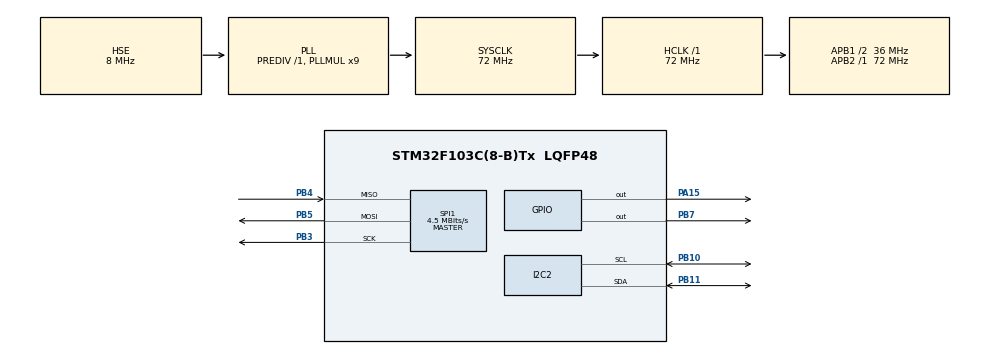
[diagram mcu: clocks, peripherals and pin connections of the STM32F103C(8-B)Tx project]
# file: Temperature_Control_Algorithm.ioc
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Mcu.Family=STM32F1
Mcu.Name=STM32F103C(8-B)Tx
Mcu.Package=LQFP48
NVIC.PriorityGroup=NVIC_PRIORITYGROUP_4
PA13.Mode=Serial_Wire
PA13.Signal=SYS_JTMS-SWDIO
PA14.Mode=Serial_Wire
PA14.Signal=SYS_JTCK-SWCLK
PA15.GPIO_Speed=GPIO_SPEED_FREQ_LOW
PA15.PinState=GPIO_PIN_SET
PA15.Signal=GPIO_Output
PB10.Mode=I2C
PB10.Signal=I2C2_SCL
PB11.Mode=I2C
PB11.Signal=I2C2_SDA
PB3.Mode=Full_Duplex_Master
PB3.Signal=SPI1_SCK
PB4.Mode=Full_Duplex_Master
PB4.Signal=SPI1_MISO
PB5.Mode=Full_Duplex_Master
PB5.Signal=SPI1_MOSI
PB7.Signal=GPIO_Output
PD0-OSC_IN.Mode=HSE-External-Oscillator
PD0-OSC_IN.Signal=RCC_OSC_IN
PD1-OSC_OUT.Mode=HSE-External-Oscillator
PD1-OSC_OUT.Signal=RCC_OSC_OUT
ProjectManager.HeapSize=0x200
ProjectManager.StackSize=0x400
ProjectManager.TargetToolchain=STM32CubeIDE
RCC.AHBFreq_Value=72000000
RCC.APB1CLKDivider=RCC_HCLK_DIV2
RCC.APB1Freq_Value=36000000
RCC.APB1TimFreq_Value=72000000
RCC.APB2Freq_Value=72000000
RCC.APB2TimFreq_Value=72000000
RCC.HCLKFreq_Value=72000000
RCC.PLLMUL=RCC_PLL_MUL9
RCC.PLLSourceVirtual=RCC_PLLSOURCE_HSE
RCC.SYSCLKFreq_VALUE=72000000
RCC.SYSCLKSource=RCC_SYSCLKSOURCE_PLLCLK
RCC.USBFreq_Value=72000000
SPI1.BaudRatePrescaler=SPI_BAUDRATEPRESCALER_16
SPI1.CLKPhase=SPI_PHASE_2EDGE
SPI1.CalculateBaudRate=4.5 MBits/s
SPI1.Direction=SPI_DIRECTION_2LINES
SPI1.Mode=SPI_MODE_MASTER
SPI1.VirtualType=VM_MASTER
board=custom

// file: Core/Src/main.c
/* USER CODE BEGIN Header */
/**
  ******************************************************************************
  * @file           : main.c
  * @brief          : Main program body
  ******************************************************************************
  * @attention
  *
  * Copyright (c) 2026 STMicroelectronics.
  * All rights reserved.
  *
  * This software is licensed under terms that can be found in the LICENSE file
  * in the root directory of this software component.
  * If no LICENSE file comes with this software, it is provided AS-IS.
  *
  ******************************************************************************
  */
/* USER CODE END Header */
#include "main.h"

/* USER CODE BEGIN Includes */
#include "LiquidCrystal_I2C.h"
#include "MAX31856.h"
#include "PID_Controller.h"
#include <stdio.h>
#include <stdlib.h>
#include <math.h>
/* USER CODE END Includes */

I2C_HandleTypeDef hi2c2;

SPI_HandleTypeDef hspi1;

/* USER CODE BEGIN PV */
// Khai báo các object điều khiển
MAX31856_HandleTypeDef max31856;
PID_TypeDef pid_heater;

// Biến cho PID
float Input, Output, Setpoint;
float Kp = 20.0f, Ki = 0.02f, Kd = 300.0f;

// Biến cho Time-Proportional Control (Slow PWM)
#define WINDOW_SIZE 1000 // Chu kỳ băm xung là 1000ms (1 giây)
uint32_t windowStartTime = 0;
float active_output = 0; // Biến "chốt" (lock) Output cho 1 chu kỳ PWM

// Các biến định thời phi nghẽn
uint32_t lastSensorUpdate = 0;
uint32_t lastLcdUpdate = 0;
uint8_t sensor_fault = 0; // Biến lưu trạng thái lỗi cảm biến
/* USER CODE END PV */

void SystemClock_Config(void);
static void MX_GPIO_Init(void);
static void MX_I2C2_Init(void);
static void MX_SPI1_Init(void);

int main(void)
{

  /* MCU Configuration--------------------------------------------------------*/

  /* Reset of all peripherals, Initializes the Flash interface and the Systick. */
  HAL_Init();

  /* Configure the system clock */
  SystemClock_Config();

  /* Initialize all configured peripherals */
  MX_GPIO_Init();
  MX_I2C2_Init();
  MX_SPI1_Init();
  /* USER CODE BEGIN 2 */
  // 1. Init LCD 16x2
    LCDI2C_init(&hi2c2, 0x27, 16, 2);
    LCDI2C_backlight();
    LCDI2C_clear();

  // 2. Khởi tạo cảm biến MAX31856
    MAX31856_Init(&max31856, &hspi1, GPIOA, GPIO_PIN_15);
    MAX31856_SetThermocoupleType(&max31856, MAX31856_TCTYPE_S);
    MAX31856_SetNoiseFilter(&max31856, MAX31856_NOISE_FILTER_50HZ);
    MAX31856_SetConversionMode(&max31856, MAX31856_CONTINUOUS);

  // 3. Khởi tạo bộ PID
    Setpoint = 150.0f;
    PID_Init(&pid_heater, &Input, &Output, &Setpoint, Kp, Ki, Kd, PID_P_ON_E, PID_DIRECT);
    PID_SetMode(&pid_heater, PID_AUTOMATIC);
    PID_SetOutputLimits(&pid_heater, 0, WINDOW_SIZE);

    // Đồng bộ Chu kỳ tính toán PID đúng bằng chu kỳ băm xung SSR
    PID_SetSampleTime(&pid_heater, WINDOW_SIZE);
    windowStartTime = HAL_GetTick();

    // Biến dùng cho bộ lọc EMA (Exponential Moving Average)
     static float filtered_temp = -1.0f;
    // Trạng thái Anti-Windup để tránh gọi hàm SetTunings liên tục
     static bool ki_is_active = true;
  /* USER CODE END 2 */

  /* Infinite loop */
  /* USER CODE BEGIN WHILE */
  while (1)
  {
	  uint32_t currentTick = HAL_GetTick();
      /* ==================================================================== */
      /* CHU KỲ 1: ĐỌC VÀ LỌC NHIỄU CẢM BIẾN (Chạy định kỳ 250ms)             */
      /* ==================================================================== */
      if (currentTick - lastSensorUpdate >= 250)
      {
          lastSensorUpdate = currentTick;

          // Kiểm tra lỗi cảm biến
          sensor_fault = MAX31856_ReadFault(&max31856);

          if (sensor_fault == 0)
          {
              float temp_read = MAX31856_ReadThermocoupleTemperature(&max31856);
              if (temp_read > -0.1f && temp_read < 500.0f) { // Lọc giá trị rác cực đoan
                  if (filtered_temp < 0.0f) filtered_temp = temp_read;
                  else filtered_temp = 0.8f * filtered_temp + 0.2f * temp_read; // Bộ lọc EMA
                  Input = filtered_temp;
              }
          } else {
              // Bảo vệ phần cứng: Tắt gia nhiệt ngay lập tức nếu cảm biến lỗi
              PID_SetMode(&pid_heater, PID_MANUAL);
              active_output = 0;
              Output = 0;
          }
      }

      /* ==================================================================== */
      /* CHU KỲ 2: TÍNH TOÁN PID VÀ CẬP NHẬT CHU KỲ PWM                       */
      /* ==================================================================== */
      if (sensor_fault == 0) {
          if (PID_GetMode(&pid_heater) != PID_AUTOMATIC) {
              PID_SetMode(&pid_heater, PID_AUTOMATIC);
          }

          // Anti-Windup: Chỉ bật khâu I (Tích phân) khi cách đích <= 5 độ C
          float error = Setpoint - Input;
          if (fabs(error) > 5.0f && ki_is_active) {
              PID_SetTunings(&pid_heater, Kp, 0.0f, Kd, PID_P_ON_E);
              ki_is_active = false;
          } else if (fabs(error) <= 5.0f && !ki_is_active) {
              PID_SetTunings(&pid_heater, Kp, Ki, Kd, PID_P_ON_E);
              ki_is_active = true;
          }

          // Cho phép thư viện PID tự quyết định thời điểm cập nhật dựa trên SampleTime (1000ms)
          if (PID_Compute(&pid_heater)) {
              // Hàm PID_Compute trả về true -> Có giá trị Output mới
              // ĐỒNG BỘ HOÁ: Reset lại bộ đếm PWM window ngay lúc này
              windowStartTime = currentTick;
              active_output = Output;
          }
      }

      /* ==================================================================== */
      /* CHU KỲ 3: ĐIỀU KHIỂN SSR PWM (Chạy liên tục không block)             */
      /* ==================================================================== */
      if (sensor_fault != 0) {
          HAL_GPIO_WritePin(GPIOB, GPIO_PIN_7, GPIO_PIN_RESET);
      } else {
          uint32_t ms_in_window = currentTick - windowStartTime;

          // Xử lý Deadband an toàn cho SSR (Cắt bỏ dải < 20ms và giữ ON toàn thời gian nếu > 980ms)
          if (active_output <= 20) {
              HAL_GPIO_WritePin(GPIOB, GPIO_PIN_7, GPIO_PIN_RESET);
          } else if (active_output >= (WINDOW_SIZE - 20)) {
              HAL_GPIO_WritePin(GPIOB, GPIO_PIN_7, GPIO_PIN_SET);
          } else {
              // Băm xung bình thường
              if (ms_in_window < active_output) {
                  HAL_GPIO_WritePin(GPIOB, GPIO_PIN_7, GPIO_PIN_SET);
              } else {
                  HAL_GPIO_WritePin(GPIOB, GPIO_PIN_7, GPIO_PIN_RESET);
              }
          }
      }

      /* ==================================================================== */
      /* CHU KỲ 4: CẬP NHẬT LCD (Chạy định kỳ mỗi 500ms)                      */
      /* ==================================================================== */
      if (currentTick - lastLcdUpdate >= 500)
      {
          lastLcdUpdate = currentTick;
          char lcd_buf[18];

          if (sensor_fault != 0) {
              LCDI2C_setCursor(0, 0);
              LCDI2C_write_String("SENSOR ERROR!   ");
              LCDI2C_setCursor(0, 1);
              LCDI2C_write_String("SSR: OFF        ");
          } else {
              LCDI2C_setCursor(0, 0);
              snprintf(lcd_buf, sizeof(lcd_buf), "SP:%3.0f PV:%3.2f", Setpoint, Input);
              LCDI2C_write_String(lcd_buf);

              LCDI2C_setCursor(0, 1);
              // Ký hiệu [I] hiển thị để theo dõi xem bộ Anti-Windup đang bật hay tắt Tích phân
              snprintf(lcd_buf, sizeof(lcd_buf), "SSR: %4dms %c   ", (int)active_output, ki_is_active ? 'I' : ' ');
              LCDI2C_write_String(lcd_buf);
          }
      }
    /* USER CODE END WHILE */

  }
}

void SystemClock_Config(void)
{
  RCC_OscInitTypeDef RCC_OscInitStruct = {0};
  RCC_ClkInitTypeDef RCC_ClkInitStruct = {0};

  /** Initializes the RCC Oscillators according to the specified parameters
  * in the RCC_OscInitTypeDef structure.
  */
  RCC_OscInitStruct.OscillatorType = RCC_OSCILLATORTYPE_HSE;
  RCC_OscInitStruct.HSEState = RCC_HSE_ON;
  RCC_OscInitStruct.HSEPredivValue = RCC_HSE_PREDIV_DIV1;
  RCC_OscInitStruct.HSIState = RCC_HSI_ON;
  RCC_OscInitStruct.PLL.PLLState = RCC_PLL_ON;
  RCC_OscInitStruct.PLL.PLLSource = RCC_PLLSOURCE_HSE;
  RCC_OscInitStruct.PLL.PLLMUL = RCC_PLL_MUL9;
  if (HAL_RCC_OscConfig(&RCC_OscInitStruct) != HAL_OK)
  {
    Error_Handler();
  }

  /** Initializes the CPU, AHB and APB buses clocks
  */
  RCC_ClkInitStruct.ClockType = RCC_CLOCKTYPE_HCLK|RCC_CLOCKTYPE_SYSCLK
                              |RCC_CLOCKTYPE_PCLK1|RCC_CLOCKTYPE_PCLK2;
  RCC_ClkInitStruct.SYSCLKSource = RCC_SYSCLKSOURCE_PLLCLK;
  RCC_ClkInitStruct.AHBCLKDivider = RCC_SYSCLK_DIV1;
  RCC_ClkInitStruct.APB1CLKDivider = RCC_HCLK_DIV2;
  RCC_ClkInitStruct.APB2CLKDivider = RCC_HCLK_DIV1;

  if (HAL_RCC_ClockConfig(&RCC_ClkInitStruct, FLASH_LATENCY_2) != HAL_OK)
  {
    Error_Handler();
  }
}

static void MX_I2C2_Init(void)
{

  hi2c2.Instance = I2C2;
  hi2c2.Init.ClockSpeed = 100000;
  hi2c2.Init.DutyCycle = I2C_DUTYCYCLE_2;
  hi2c2.Init.OwnAddress1 = 0;
  hi2c2.Init.AddressingMode = I2C_ADDRESSINGMODE_7BIT;
  hi2c2.Init.DualAddressMode = I2C_DUALADDRESS_DISABLE;
  hi2c2.Init.OwnAddress2 = 0;
  hi2c2.Init.GeneralCallMode = I2C_GENERALCALL_DISABLE;
  hi2c2.Init.NoStretchMode = I2C_NOSTRETCH_DISABLE;
  if (HAL_I2C_Init(&hi2c2) != HAL_OK)
  {
    Error_Handler();
  }

}

static void MX_SPI1_Init(void)
{

  /* SPI1 parameter configuration*/
  hspi1.Instance = SPI1;
  hspi1.Init.Mode = SPI_MODE_MASTER;
  hspi1.Init.Direction = SPI_DIRECTION_2LINES;
  hspi1.Init.DataSize = SPI_DATASIZE_8BIT;
  hspi1.Init.CLKPolarity = SPI_POLARITY_LOW;
  hspi1.Init.CLKPhase = SPI_PHASE_2EDGE;
  hspi1.Init.NSS = SPI_NSS_SOFT;
  hspi1.Init.BaudRatePrescaler = SPI_BAUDRATEPRESCALER_16;
  hspi1.Init.FirstBit = SPI_FIRSTBIT_MSB;
  hspi1.Init.TIMode = SPI_TIMODE_DISABLE;
  hspi1.Init.CRCCalculation = SPI_CRCCALCULATION_DISABLE;
  hspi1.Init.CRCPolynomial = 10;
  if (HAL_SPI_Init(&hspi1) != HAL_OK)
  {
    Error_Handler();
  }

}

static void MX_GPIO_Init(void)
{
  GPIO_InitTypeDef GPIO_InitStruct = {0};

  /* GPIO Ports Clock Enable */
  __HAL_RCC_GPIOD_CLK_ENABLE();
  __HAL_RCC_GPIOB_CLK_ENABLE();
  __HAL_RCC_GPIOA_CLK_ENABLE();

  /*Configure GPIO pin Output Level */
  HAL_GPIO_WritePin(GPIOA, GPIO_PIN_15, GPIO_PIN_SET);

  /*Configure GPIO pin Output Level */
  HAL_GPIO_WritePin(GPIOB, GPIO_PIN_7, GPIO_PIN_RESET);

  /*Configure GPIO pin : PA15 */
  GPIO_InitStruct.Pin = GPIO_PIN_15;
  GPIO_InitStruct.Mode = GPIO_MODE_OUTPUT_PP;
  GPIO_InitStruct.Pull = GPIO_NOPULL;
  GPIO_InitStruct.Speed = GPIO_SPEED_FREQ_LOW;
  HAL_GPIO_Init(GPIOA, &GPIO_InitStruct);

  /*Configure GPIO pin : PB7 */
  GPIO_InitStruct.Pin = GPIO_PIN_7;
  GPIO_InitStruct.Mode = GPIO_MODE_OUTPUT_PP;
  GPIO_InitStruct.Pull = GPIO_NOPULL;
  GPIO_InitStruct.Speed = GPIO_SPEED_FREQ_LOW;
  HAL_GPIO_Init(GPIOB, &GPIO_InitStruct);

}

void Error_Handler(void)
{
  __disable_irq();
  while (1)
  {
  }
}
